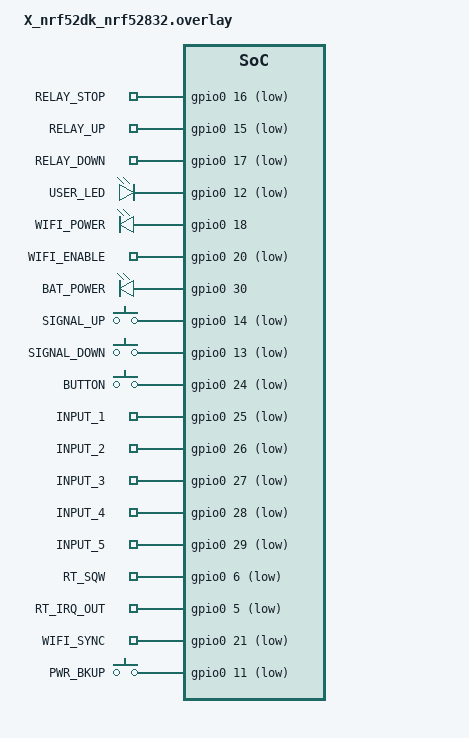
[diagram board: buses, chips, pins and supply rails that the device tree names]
&{/aliases}{
    /delete-property/ led0;
    /delete-property/ led1;
    /delete-property/ led2;
    /delete-property/ led3;
    /delete-property/ sw0;
    /delete-property/ sw1;
    /delete-property/ sw2;
    /delete-property/ sw3;
	/delete-property/ pwm-led0;
	/delete-property/ bootloader-led0;
	/delete-property/ mcuboot-button0;
	/delete-property/ mcuboot-led0;
};

&{/leds}{
    led0: led_0 {
        status = "disabled";
    };
    led1: led_1 {
        status = "disabled";
    };
    led2: led_2 {
        status = "disabled";
    };
    led3: led_3 {
        status = "disabled";
    };
};

&{/buttons}{
	button0: button_0 {
    	status = "disabled";
	};
	button1: button_1 {
    	status = "disabled";
	};
	button2: button_2 {
    	status = "disabled";
	};
	button3: button_3 {
    	status = "disabled";
	};
};

&uart0_default {
	group1 {
		psels = <NRF_PSEL(UART_TX, 0, 22)>,
			<NRF_PSEL(UART_RX, 0, 19)>;
	};
};

&uart0_sleep {
	group1 {
		psels = <NRF_PSEL(UART_TX, 0, 22)>,
			<NRF_PSEL(UART_RX, 0, 19)>;
	};
};

&i2c0_default {
	group1 {
		psels = <NRF_PSEL(TWIM_SDA, 0, 7)>,
			<NRF_PSEL(TWIM_SCL, 0, 8)>;
	};
};

&i2c0_sleep {
	group1 {
		psels = <NRF_PSEL(TWIM_SDA, 0, 7)>,
			<NRF_PSEL(TWIM_SCL, 0, 8)>;
		low-power-enable;
	};
};
/{
	output {
		compatible = "gpio-leds";
		o_relay_stop: relay_stop {
			gpios = < &gpio0 16 GPIO_ACTIVE_LOW >;
			label = "RELAY_STOP";
		};
		o_relay_up: relay_up {
			gpios = < &gpio0 15 GPIO_ACTIVE_LOW >;
			label = "RELAY_UP";
		};
		o_relay_ldown: relay_down {
			gpios = < &gpio0 17 GPIO_ACTIVE_LOW >;
			label = "RELAY_DOWN";
		};
		o_led: led {
			gpios = < &gpio0 12 GPIO_ACTIVE_LOW >;
			label = "USER_LED";
		};
		o_wifi_power: wifi_power {
			gpios = < &gpio0 18 GPIO_ACTIVE_HIGH >;
			label = "WIFI_POWER";
		};
		o_wifi_enable: wifi_enable {
			gpios = < &gpio0 20 GPIO_ACTIVE_LOW >;
			label = "WIFI_ENABLE";
		};
		o_bat_power: bat_power{
			gpios = < &gpio0 30 GPIO_ACTIVE_HIGH>;
			label = "BAT_POWER";
		};
	};
	
	input{
		compatible = "gpio-keys";
		i_sig_up: signal_up {
			gpios = < &gpio0 14 0x11 >;
			label = "SIGNAL_UP";
		};
		i_sig_down: signal_down {
			gpios = < &gpio0 13 0x11 >;
			label = "SIGNAL_DOWN";
		};
		i_button: button {
			gpios = < &gpio0 24 0x11 >;
			label = "BUTTON";
		};
		i_input_1: input_1 {
			gpios = < &gpio0 25 0x11 >;
			label = "INPUT_1";
		};
		i_input_2: input_2 {
			gpios = < &gpio0 26 0x11 >;
			label = "INPUT_2";
		};
		i_input_3: input_3 {
			gpios = < &gpio0 27 0x11 >;
			label = "INPUT_3";
		};
		i_input_4: input_4 {
			gpios = < &gpio0 28 0x11 >;
			label = "INPUT_4";
		};
		i_input_5: input_5 {
			gpios = < &gpio0 29 0x11 >;
			label = "INPUT_5";
		};
		i_rt_sqw: rt_sqw {
			gpios = < &gpio0 6 0x11 >;
			label = "RT_SQW";
		};
		i_rt_irq: rt_irq {
			gpios = < &gpio0 5 0x11 >;
			label = "RT_IRQ_OUT";
		};
		i_wifi_sync: wifi_sync {
			gpios = < &gpio0 21 0x11 >;
			label = "WIFI_SYNC";
		};
		i_pwr_bkup: pwr_bkup {
			gpios = < &gpio0 11 0x11>;
			label = "PWR_BKUP";
		};
	};
}; 

&flash0{
	partitions {
		/delete-node/ partition@c000;
		/delete-node/ partition@70000;
		/delete-node/ partition@7a000;
		boot_partition: partition@0 {
			label = "mcuboot";
			reg = < 0x0 0x28000 >;
		};
		slot0_partition: partition@28000 {
			label = "image-0";
			reg = < 0x28000 0x4d000 >;
		};
		storage_partition: partition@75000 {
			label = "storage";
			reg = < 0x75000 0xa000 >;
		};
	};
};

&pwm0_default {
	group1 {
		psels = <NRF_PSEL(PWM_OUT0, 0, 31)>;
	};
};

&pwm0_sleep {
	group1 {
		psels = <NRF_PSEL(PWM_OUT0, 0, 31)>;
	};
};

&spi0{
	status = "disabled";
};

&spi1{
	status = "disabled";
};

&spi2{
	status = "disabled";
};

&spi0_default {
	/delete-node/ group1;
};

&spi0_sleep {
	/delete-node/ group1;
};

&spi1_default {
	/delete-node/ group1;
};

&spi1_sleep {
	/delete-node/ group1;
};

&spi2_default {
	/delete-node/ group1;
};

&spi2_sleep {
	/delete-node/ group1;
};

/ {
	pwmleds {
		/delete-node/ pwm_led_0;
		pwm_bell: p_bell {
			pwms = <&pwm0 0 PWM_MSEC(20) PWM_POLARITY_INVERTED>;
		};
	};
};
